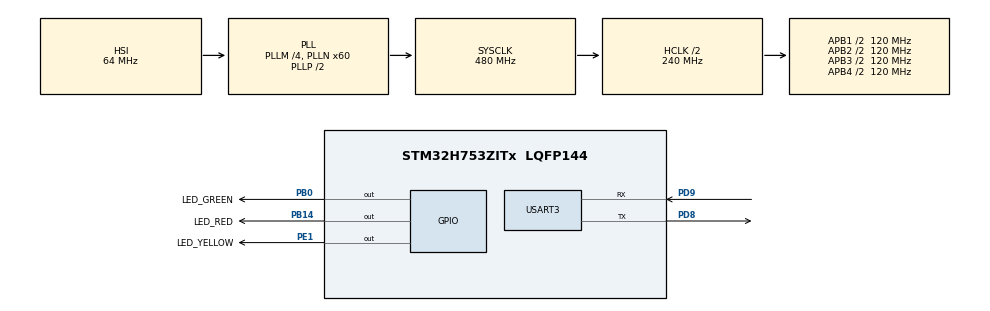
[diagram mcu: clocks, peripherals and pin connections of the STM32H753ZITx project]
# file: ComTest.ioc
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CORTEX_M7.AccessPermission-Cortex_Memory_Protection_Unit_Region0_Settings=MPU_REGION_FULL_ACCESS
CORTEX_M7.BaseAddress-Cortex_Memory_Protection_Unit_Region0_Settings=0x24000010
CORTEX_M7.CPU_DCache=Enabled
CORTEX_M7.CPU_ICache=Enabled
CORTEX_M7.DisableExec-Cortex_Memory_Protection_Unit_Region0_Settings=MPU_INSTRUCTION_ACCESS_DISABLE
CORTEX_M7.Enable-Cortex_Memory_Protection_Unit_Region0_Settings=MPU_REGION_ENABLE
CORTEX_M7.MPU_Control=MPU_PRIVILEGED_DEFAULT
CORTEX_M7.Size-Cortex_Memory_Protection_Unit_Region0_Settings=MPU_REGION_SIZE_128B
Dma.Request0=USART3_RX
Dma.USART3_RX.0.Direction=DMA_PERIPH_TO_MEMORY
Dma.USART3_RX.0.EventEnable=DISABLE
Dma.USART3_RX.0.FIFOMode=DMA_FIFOMODE_DISABLE
Dma.USART3_RX.0.Instance=DMA1_Stream0
Dma.USART3_RX.0.MemDataAlignment=DMA_MDATAALIGN_BYTE
Dma.USART3_RX.0.MemInc=DMA_MINC_ENABLE
Dma.USART3_RX.0.Mode=DMA_NORMAL
Dma.USART3_RX.0.PeriphDataAlignment=DMA_PDATAALIGN_BYTE
Dma.USART3_RX.0.PeriphInc=DMA_PINC_DISABLE
Dma.USART3_RX.0.Polarity=HAL_DMAMUX_REQ_GEN_RISING
Dma.USART3_RX.0.Priority=DMA_PRIORITY_HIGH
Dma.USART3_RX.0.RequestNumber=1
Dma.USART3_RX.0.SignalID=NONE
Dma.USART3_RX.0.SyncEnable=DISABLE
Dma.USART3_RX.0.SyncPolarity=HAL_DMAMUX_SYNC_NO_EVENT
Dma.USART3_RX.0.SyncRequestNumber=1
Dma.USART3_RX.0.SyncSignalID=NONE
Mcu.Family=STM32H7
Mcu.Name=STM32H753ZITx
Mcu.Package=LQFP144
NVIC.DMA1_Stream0_IRQn=true\:0\:0\:false\:false\:true\:false\:true\:true
NVIC.PriorityGroup=NVIC_PRIORITYGROUP_4
NVIC.TIM6_DAC_IRQn=true\:0\:0\:false\:false\:true\:true\:true\:true
NVIC.USART3_IRQn=true\:0\:0\:false\:false\:true\:true\:true\:true
PB0.GPIO_Label=LED_GREEN
PB0.Signal=GPIO_Output
PB14.GPIO_Label=LED_RED
PB14.Signal=GPIO_Output
PD8.Mode=Asynchronous
PD8.Signal=USART3_TX
PD9.Mode=Asynchronous
PD9.Signal=USART3_RX
PE1.GPIO_Label=LED_YELLOW
PE1.Signal=GPIO_Output
ProjectManager.HeapSize=0x200
ProjectManager.StackSize=0x400
ProjectManager.TargetToolchain=STM32CubeIDE
RCC.ADCFreq_Value=129000000
RCC.APB1Freq_Value=120000000
RCC.APB2Freq_Value=120000000
RCC.APB3Freq_Value=120000000
RCC.APB4Freq_Value=120000000
RCC.CortexFreq_Value=480000000
RCC.D1PPRE=RCC_APB3_DIV2
RCC.D2PPRE1=RCC_APB1_DIV2
RCC.D2PPRE2=RCC_APB2_DIV2
RCC.D3PPRE=RCC_APB4_DIV2
RCC.DIVM1=4
RCC.DIVN1=60
RCC.HCLKFreq_Value=240000000
RCC.HPRE=RCC_HCLK_DIV2
RCC.PLL2FRACN=0
RCC.PLL3FRACN=0
RCC.PLL3_VCI_Range-AdvancedSettings=RCC_PLL3VCIRANGE_0
RCC.PLLFRACN=0
RCC.PWR_Regulator_Voltage_Scale=PWR_REGULATOR_VOLTAGE_SCALE0
RCC.SYSCLKFreq_VALUE=480000000
RCC.SYSCLKSource=RCC_SYSCLKSOURCE_PLLCLK
RCC.USBFreq_Value=480000000
TIM6.AutoReloadPreload=TIM_AUTORELOAD_PRELOAD_ENABLE
TIM6.Period=19200
TIM6.Prescaler=999
USART3.FIFOMode=FIFOMODE_DISABLE
USART3.VirtualMode-Asynchronous=VM_ASYNC
VP_TIM6_VS_ClockSourceINT.Mode=Enable_Timer
board=custom

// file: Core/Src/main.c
/* USER CODE BEGIN Header */
/**
  ******************************************************************************
  * @file           : main.c
  * @brief          : Main program body
  ******************************************************************************
  * @attention
  *
  * Copyright (c) 2023 STMicroelectronics.
  * All rights reserved.
  *
  * This software is licensed under terms that can be found in the LICENSE file
  * in the root directory of this software component.
  * If no LICENSE file comes with this software, it is provided AS-IS.
  *
  ******************************************************************************
  */
/* USER CODE END Header */
#include "main.h"

/* USER CODE BEGIN Includes */
#include <stdbool.h>
#include "dict_and_queue.h"
#include "led_functions.h"
#include "timers.h"
/* USER CODE END Includes */

/* USER CODE BEGIN PD */
#define BUFFER_SIZE 128
/* USER CODE END PD */

TIM_HandleTypeDef htim6;

UART_HandleTypeDef huart3;
DMA_HandleTypeDef hdma_usart3_rx;

/* USER CODE BEGIN PV */

volatile uint8_t __attribute__((__section__(".test"))) buffer[BUFFER_SIZE];

/* USER CODE END PV */

void SystemClock_Config(void);
static void MPU_Config(void);
static void MX_GPIO_Init(void);
static void MX_DMA_Init(void);
static void MX_USART3_UART_Init(void);
static void MX_TIM6_Init(void);
/* USER CODE BEGIN PFP */
void HAL_UARTEx_RxEventCallback(UART_HandleTypeDef *huart, uint16_t Size);
void HAL_TIM_PeriodElapsedCallback(TIM_HandleTypeDef *htim);
void registerFunctions(void);
void wait(uint64_t);
/* USER CODE END PFP */

int main(void)
{

  /* MPU Configuration--------------------------------------------------------*/
  MPU_Config();

  /* Enable I-Cache---------------------------------------------------------*/
  SCB_EnableICache();

  /* Enable D-Cache---------------------------------------------------------*/
  SCB_EnableDCache();

  /* MCU Configuration--------------------------------------------------------*/

  /* Reset of all peripherals, Initializes the Flash interface and the Systick. */
  HAL_Init();

  /* Configure the system clock */
  SystemClock_Config();

  /* Initialize all configured peripherals */
  MX_GPIO_Init();
  MX_DMA_Init();
  MX_USART3_UART_Init();
  MX_TIM6_Init();
  /* USER CODE BEGIN 2 */

  HAL_UARTEx_ReceiveToIdle_DMA(&huart3, buffer, 100);
  __HAL_DMA_DISABLE_IT(&hdma_usart3_rx, DMA_IT_HT);

  registerFunctions();

  uint8_t send[8] = "hello\r\n";
  HAL_UART_Transmit(&huart3, send, 7, 1000);

  /* USER CODE END 2 */

  /* Infinite loop */
  while (1)
  {

    /* USER CODE BEGIN 3 */
	  HAL_SuspendTick();
	  __WFI();
	  HAL_ResumeTick();
	  //HAL_GPIO_TogglePin(LED_GREEN_GPIO_Port, LED_GREEN_Pin);

	  while(isNextReady())
	  {
		  invokeNext();
	  }

  }
  /* USER CODE END 3 */
}

void SystemClock_Config(void)
{
  RCC_OscInitTypeDef RCC_OscInitStruct = {0};
  RCC_ClkInitTypeDef RCC_ClkInitStruct = {0};

  /** Supply configuration update enable
  */
  HAL_PWREx_ConfigSupply(PWR_LDO_SUPPLY);

  /** Configure the main internal regulator output voltage
  */
  __HAL_PWR_VOLTAGESCALING_CONFIG(PWR_REGULATOR_VOLTAGE_SCALE0);

  while(!__HAL_PWR_GET_FLAG(PWR_FLAG_VOSRDY)) {}

  /** Initializes the RCC Oscillators according to the specified parameters
  * in the RCC_OscInitTypeDef structure.
  */
  RCC_OscInitStruct.OscillatorType = RCC_OSCILLATORTYPE_HSI;
  RCC_OscInitStruct.HSIState = RCC_HSI_DIV1;
  RCC_OscInitStruct.HSICalibrationValue = RCC_HSICALIBRATION_DEFAULT;
  RCC_OscInitStruct.PLL.PLLState = RCC_PLL_ON;
  RCC_OscInitStruct.PLL.PLLSource = RCC_PLLSOURCE_HSI;
  RCC_OscInitStruct.PLL.PLLM = 4;
  RCC_OscInitStruct.PLL.PLLN = 60;
  RCC_OscInitStruct.PLL.PLLP = 2;
  RCC_OscInitStruct.PLL.PLLQ = 2;
  RCC_OscInitStruct.PLL.PLLR = 2;
  RCC_OscInitStruct.PLL.PLLRGE = RCC_PLL1VCIRANGE_3;
  RCC_OscInitStruct.PLL.PLLVCOSEL = RCC_PLL1VCOWIDE;
  RCC_OscInitStruct.PLL.PLLFRACN = 0;
  if (HAL_RCC_OscConfig(&RCC_OscInitStruct) != HAL_OK)
  {
    Error_Handler();
  }

  /** Initializes the CPU, AHB and APB buses clocks
  */
  RCC_ClkInitStruct.ClockType = RCC_CLOCKTYPE_HCLK|RCC_CLOCKTYPE_SYSCLK
                              |RCC_CLOCKTYPE_PCLK1|RCC_CLOCKTYPE_PCLK2
                              |RCC_CLOCKTYPE_D3PCLK1|RCC_CLOCKTYPE_D1PCLK1;
  RCC_ClkInitStruct.SYSCLKSource = RCC_SYSCLKSOURCE_PLLCLK;
  RCC_ClkInitStruct.SYSCLKDivider = RCC_SYSCLK_DIV1;
  RCC_ClkInitStruct.AHBCLKDivider = RCC_HCLK_DIV2;
  RCC_ClkInitStruct.APB3CLKDivider = RCC_APB3_DIV2;
  RCC_ClkInitStruct.APB1CLKDivider = RCC_APB1_DIV2;
  RCC_ClkInitStruct.APB2CLKDivider = RCC_APB2_DIV2;
  RCC_ClkInitStruct.APB4CLKDivider = RCC_APB4_DIV2;

  if (HAL_RCC_ClockConfig(&RCC_ClkInitStruct, FLASH_LATENCY_4) != HAL_OK)
  {
    Error_Handler();
  }
}

static void MX_TIM6_Init(void)
{

  TIM_MasterConfigTypeDef sMasterConfig = {0};

  htim6.Instance = TIM6;
  htim6.Init.Prescaler = 999;
  htim6.Init.CounterMode = TIM_COUNTERMODE_UP;
  htim6.Init.Period = 19200;
  htim6.Init.AutoReloadPreload = TIM_AUTORELOAD_PRELOAD_ENABLE;
  if (HAL_TIM_Base_Init(&htim6) != HAL_OK)
  {
    Error_Handler();
  }
  sMasterConfig.MasterOutputTrigger = TIM_TRGO_RESET;
  sMasterConfig.MasterSlaveMode = TIM_MASTERSLAVEMODE_DISABLE;
  if (HAL_TIMEx_MasterConfigSynchronization(&htim6, &sMasterConfig) != HAL_OK)
  {
    Error_Handler();
  }

}

static void MX_USART3_UART_Init(void)
{

  huart3.Instance = USART3;
  huart3.Init.BaudRate = 115200;
  huart3.Init.WordLength = UART_WORDLENGTH_8B;
  huart3.Init.StopBits = UART_STOPBITS_1;
  huart3.Init.Parity = UART_PARITY_NONE;
  huart3.Init.Mode = UART_MODE_TX_RX;
  huart3.Init.HwFlowCtl = UART_HWCONTROL_NONE;
  huart3.Init.OverSampling = UART_OVERSAMPLING_16;
  huart3.Init.OneBitSampling = UART_ONE_BIT_SAMPLE_DISABLE;
  huart3.Init.ClockPrescaler = UART_PRESCALER_DIV1;
  huart3.AdvancedInit.AdvFeatureInit = UART_ADVFEATURE_NO_INIT;
  if (HAL_UART_Init(&huart3) != HAL_OK)
  {
    Error_Handler();
  }
  if (HAL_UARTEx_SetTxFifoThreshold(&huart3, UART_TXFIFO_THRESHOLD_1_8) != HAL_OK)
  {
    Error_Handler();
  }
  if (HAL_UARTEx_SetRxFifoThreshold(&huart3, UART_RXFIFO_THRESHOLD_1_8) != HAL_OK)
  {
    Error_Handler();
  }
  if (HAL_UARTEx_DisableFifoMode(&huart3) != HAL_OK)
  {
    Error_Handler();
  }

}

static void MX_DMA_Init(void)
{

  /* DMA controller clock enable */
  __HAL_RCC_DMA1_CLK_ENABLE();

  /* DMA interrupt init */
  /* DMA1_Stream0_IRQn interrupt configuration */
  HAL_NVIC_SetPriority(DMA1_Stream0_IRQn, 0, 0);
  HAL_NVIC_EnableIRQ(DMA1_Stream0_IRQn);

}

static void MX_GPIO_Init(void)
{
  GPIO_InitTypeDef GPIO_InitStruct = {0};

  /* GPIO Ports Clock Enable */
  __HAL_RCC_GPIOB_CLK_ENABLE();
  __HAL_RCC_GPIOD_CLK_ENABLE();
  __HAL_RCC_GPIOE_CLK_ENABLE();

  /*Configure GPIO pin Output Level */
  HAL_GPIO_WritePin(GPIOB, LED_GREEN_Pin|LED_RED_Pin, GPIO_PIN_RESET);

  /*Configure GPIO pin Output Level */
  HAL_GPIO_WritePin(LED_YELLOW_GPIO_Port, LED_YELLOW_Pin, GPIO_PIN_RESET);

  /*Configure GPIO pins : LED_GREEN_Pin LED_RED_Pin */
  GPIO_InitStruct.Pin = LED_GREEN_Pin|LED_RED_Pin;
  GPIO_InitStruct.Mode = GPIO_MODE_OUTPUT_PP;
  GPIO_InitStruct.Pull = GPIO_NOPULL;
  GPIO_InitStruct.Speed = GPIO_SPEED_FREQ_LOW;
  HAL_GPIO_Init(GPIOB, &GPIO_InitStruct);

  /*Configure GPIO pin : LED_YELLOW_Pin */
  GPIO_InitStruct.Pin = LED_YELLOW_Pin;
  GPIO_InitStruct.Mode = GPIO_MODE_OUTPUT_PP;
  GPIO_InitStruct.Pull = GPIO_NOPULL;
  GPIO_InitStruct.Speed = GPIO_SPEED_FREQ_LOW;
  HAL_GPIO_Init(LED_YELLOW_GPIO_Port, &GPIO_InitStruct);

}

/* USER CODE BEGIN 4 */

void registerFunctions(void)
{
	  registerFunc(led_green_control, LED1);
	  registerFunc(led_red_control, LED2);
	  registerFunc(led_yellow_control, LED3);
	  registerFunc(wait, WAIT);
}

void wait(uint64_t miliseconds)
{
	HAL_Delay((uint32_t)miliseconds);
}

void HAL_UARTEx_RxEventCallback(UART_HandleTypeDef *huart, uint16_t Size)
{
	static uint8_t returnBuffer[2] = { ACK, 0};
	returnBuffer[1] = buffer[0];
	HAL_UART_Transmit(&huart3, returnBuffer, 2, 1000);
	//HAL_GPIO_TogglePin(LED_YELLOW_GPIO_Port, LED_YELLOW_Pin);
	if(huart->Instance == USART3)
	{
		if(buffer[0] != ASAP)
		{
			enqueue(buffer, Size);
		}
		else
		{
			invokeNow(&buffer[1], Size - 1);
		}
		//HAL_GPIO_TogglePin(LED_GREEN_GPIO_Port, LED_GREEN_Pin);

		HAL_UARTEx_ReceiveToIdle_DMA(&huart3, buffer, 100);
		__HAL_DMA_DISABLE_IT(&hdma_usart3_rx, DMA_IT_HT);
	}
}

void HAL_TIM_PeriodElapsedCallback(TIM_HandleTypeDef *htim)
{
	timersInterruptHandler(htim);
}

/* USER CODE END 4 */

/* MPU Configuration */

void MPU_Config(void)
{
  MPU_Region_InitTypeDef MPU_InitStruct = {0};

  /* Disables the MPU */
  HAL_MPU_Disable();

  /** Initializes and configures the Region and the memory to be protected
  */
  MPU_InitStruct.Enable = MPU_REGION_ENABLE;
  MPU_InitStruct.Number = MPU_REGION_NUMBER0;
  MPU_InitStruct.BaseAddress = 0x24000010;
  MPU_InitStruct.Size = MPU_REGION_SIZE_128B;
  MPU_InitStruct.SubRegionDisable = 0x0;
  MPU_InitStruct.TypeExtField = MPU_TEX_LEVEL0;
  MPU_InitStruct.AccessPermission = MPU_REGION_FULL_ACCESS;
  MPU_InitStruct.DisableExec = MPU_INSTRUCTION_ACCESS_DISABLE;
  MPU_InitStruct.IsShareable = MPU_ACCESS_NOT_SHAREABLE;
  MPU_InitStruct.IsCacheable = MPU_ACCESS_NOT_CACHEABLE;
  MPU_InitStruct.IsBufferable = MPU_ACCESS_NOT_BUFFERABLE;

  HAL_MPU_ConfigRegion(&MPU_InitStruct);
  /* Enables the MPU */
  HAL_MPU_Enable(MPU_PRIVILEGED_DEFAULT);

}

void Error_Handler(void)
{
  __disable_irq();
  while (1)
  {
  }
}
